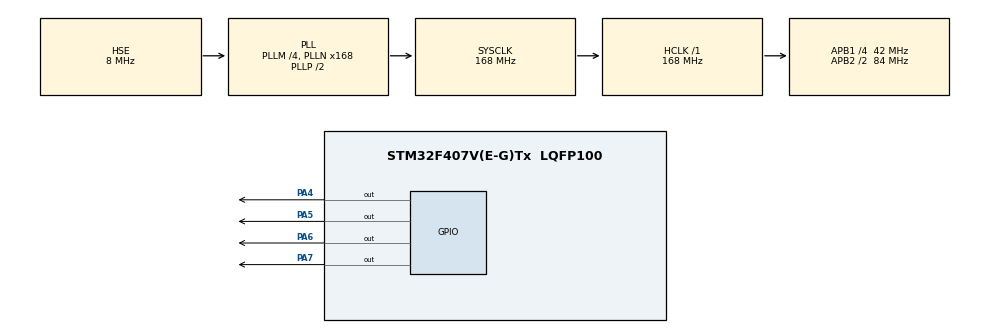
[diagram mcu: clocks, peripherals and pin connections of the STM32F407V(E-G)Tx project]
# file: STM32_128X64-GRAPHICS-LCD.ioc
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Mcu.Family=STM32F4
Mcu.Name=STM32F407V(E-G)Tx
Mcu.Package=LQFP100
NVIC.PriorityGroup=NVIC_PRIORITYGROUP_0
PA13.Mode=Serial_Wire
PA13.Signal=SYS_JTMS-SWDIO
PA14.Mode=Serial_Wire
PA14.Signal=SYS_JTCK-SWCLK
PA4.Signal=GPIO_Output
PA5.Signal=GPIO_Output
PA6.Signal=GPIO_Output
PA7.Signal=GPIO_Output
PH0-OSC_IN.Mode=HSE-External-Oscillator
PH0-OSC_IN.Signal=RCC_OSC_IN
PH1-OSC_OUT.Mode=HSE-External-Oscillator
PH1-OSC_OUT.Signal=RCC_OSC_OUT
ProjectManager.HeapSize=0x200
ProjectManager.StackSize=0x400
ProjectManager.TargetToolchain=STM32CubeIDE
RCC.48MHZClocksFreq_Value=48000000
RCC.AHBFreq_Value=168000000
RCC.APB1CLKDivider=RCC_HCLK_DIV4
RCC.APB1Freq_Value=42000000
RCC.APB1TimFreq_Value=84000000
RCC.APB2CLKDivider=RCC_HCLK_DIV2
RCC.APB2Freq_Value=84000000
RCC.APB2TimFreq_Value=168000000
RCC.CortexFreq_Value=168000000
RCC.HCLKFreq_Value=168000000
RCC.HSE_VALUE=8000000
RCC.HSI_VALUE=16000000
RCC.LSE_VALUE=32768
RCC.PLLM=4
RCC.PLLN=168
RCC.PLLQ=7
RCC.PLLSourceVirtual=RCC_PLLSOURCE_HSE
RCC.SYSCLKFreq_VALUE=168000000
RCC.SYSCLKSource=RCC_SYSCLKSOURCE_PLLCLK
RCC.VCOOutputFreq_Value=336000000
TIM2.Period=0xffff-1
TIM2.Prescaler=168-1
VP_TIM2_VS_ClockSourceINT.Mode=Internal
board=STM32F407G-DISC1

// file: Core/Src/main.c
/* USER CODE BEGIN Header */
/**
  ******************************************************************************
  * @file           : main.c
  * @brief          : Main program body
  ******************************************************************************
  * @attention
  *
  * Copyright (c) 2024 STMicroelectronics.
  * All rights reserved.
  *
  * This software is licensed under terms that can be found in the LICENSE file
  * in the root directory of this software component.
  * If no LICENSE file comes with this software, it is provided AS-IS.
  *
  ******************************************************************************
  */
/* USER CODE END Header */
#include "main.h"

/* USER CODE BEGIN Includes */

#include "ST7920_SERIAL.h"      //NOTE : You may need to change the pins.  Look the c file.
#include "delay.h"				//NOTE : You may need to change the timer. Look the c file.

/* USER CODE END Includes */

TIM_HandleTypeDef htim2;

void SystemClock_Config(void);
static void MX_GPIO_Init(void);
static void MX_TIM2_Init(void);

int main(void)
{

  /* MCU Configuration--------------------------------------------------------*/

  /* Reset of all peripherals, Initializes the Flash interface and the Systick. */
  HAL_Init();

  /* Configure the system clock */
  SystemClock_Config();

  /* Initialize all configured peripherals */
  MX_GPIO_Init();
  MX_TIM2_Init();
  /* USER CODE BEGIN 2 */

  HAL_Delay(500);
  delay_init();
  ST7920_Init();

  ST7920_SendString(0, 0, "Semi Eren");
  ST7920_SendString(1, 0, "Semi Eren");
  ST7920_SendString(2, 0, "Semi Eren");
  ST7920_SendString(3, 0, "Semi Eren");
  HAL_Delay(3000);

  ST7920_Clear();

  /* USER CODE END 2 */

  /* Infinite loop */
  /* USER CODE BEGIN WHILE */
  uint8_t say=0;
  while (1)
  {
    /* USER CODE END WHILE */
    /* USER CODE BEGIN 3 */

	  /*
	  char buf[50];
	  sprintf(buf, "SAY : %d", say);
	  ST7920_SendString(0, 0, buf);
	  say++;
	  HAL_Delay(300);
	  */
	  	char buf[50];
	  	sprintf(buf, "21C  12.0V  5.1A");
	  	/*
		ST7920_SendString(0, 0, "21C");
		ST7920_SendString(0, 2, "12.0V");
		ST7920_SendString(0, 5, "5A");
		*/
		ST7920_SendString(0, 0, buf);
		ST7920_SendString(1, 0, "%50  *****");
		ST7920_SendString(2, 0, "%100 **********");
		ST7920_SendString(3, 0, "%30  ***");
		HAL_Delay(3000);

  }
  /* USER CODE END 3 */
}

void SystemClock_Config(void)
{
  RCC_OscInitTypeDef RCC_OscInitStruct = {0};
  RCC_ClkInitTypeDef RCC_ClkInitStruct = {0};

  /** Configure the main internal regulator output voltage
  */
  __HAL_RCC_PWR_CLK_ENABLE();
  __HAL_PWR_VOLTAGESCALING_CONFIG(PWR_REGULATOR_VOLTAGE_SCALE1);

  /** Initializes the RCC Oscillators according to the specified parameters
  * in the RCC_OscInitTypeDef structure.
  */
  RCC_OscInitStruct.OscillatorType = RCC_OSCILLATORTYPE_HSE;
  RCC_OscInitStruct.HSEState = RCC_HSE_ON;
  RCC_OscInitStruct.PLL.PLLState = RCC_PLL_ON;
  RCC_OscInitStruct.PLL.PLLSource = RCC_PLLSOURCE_HSE;
  RCC_OscInitStruct.PLL.PLLM = 4;
  RCC_OscInitStruct.PLL.PLLN = 168;
  RCC_OscInitStruct.PLL.PLLP = RCC_PLLP_DIV2;
  RCC_OscInitStruct.PLL.PLLQ = 7;
  if (HAL_RCC_OscConfig(&RCC_OscInitStruct) != HAL_OK)
  {
    Error_Handler();
  }

  /** Initializes the CPU, AHB and APB buses clocks
  */
  RCC_ClkInitStruct.ClockType = RCC_CLOCKTYPE_HCLK|RCC_CLOCKTYPE_SYSCLK
                              |RCC_CLOCKTYPE_PCLK1|RCC_CLOCKTYPE_PCLK2;
  RCC_ClkInitStruct.SYSCLKSource = RCC_SYSCLKSOURCE_PLLCLK;
  RCC_ClkInitStruct.AHBCLKDivider = RCC_SYSCLK_DIV1;
  RCC_ClkInitStruct.APB1CLKDivider = RCC_HCLK_DIV4;
  RCC_ClkInitStruct.APB2CLKDivider = RCC_HCLK_DIV2;

  if (HAL_RCC_ClockConfig(&RCC_ClkInitStruct, FLASH_LATENCY_5) != HAL_OK)
  {
    Error_Handler();
  }
}

static void MX_TIM2_Init(void)
{

  TIM_ClockConfigTypeDef sClockSourceConfig = {0};
  TIM_MasterConfigTypeDef sMasterConfig = {0};

  htim2.Instance = TIM2;
  htim2.Init.Prescaler = 168-1;
  htim2.Init.CounterMode = TIM_COUNTERMODE_UP;
  htim2.Init.Period = 0xffff-1;
  htim2.Init.ClockDivision = TIM_CLOCKDIVISION_DIV1;
  htim2.Init.AutoReloadPreload = TIM_AUTORELOAD_PRELOAD_DISABLE;
  if (HAL_TIM_Base_Init(&htim2) != HAL_OK)
  {
    Error_Handler();
  }
  sClockSourceConfig.ClockSource = TIM_CLOCKSOURCE_INTERNAL;
  if (HAL_TIM_ConfigClockSource(&htim2, &sClockSourceConfig) != HAL_OK)
  {
    Error_Handler();
  }
  sMasterConfig.MasterOutputTrigger = TIM_TRGO_RESET;
  sMasterConfig.MasterSlaveMode = TIM_MASTERSLAVEMODE_DISABLE;
  if (HAL_TIMEx_MasterConfigSynchronization(&htim2, &sMasterConfig) != HAL_OK)
  {
    Error_Handler();
  }

}

static void MX_GPIO_Init(void)
{
  GPIO_InitTypeDef GPIO_InitStruct = {0};

  /* GPIO Ports Clock Enable */
  __HAL_RCC_GPIOH_CLK_ENABLE();
  __HAL_RCC_GPIOA_CLK_ENABLE();

  /*Configure GPIO pin Output Level */
  HAL_GPIO_WritePin(GPIOA, GPIO_PIN_4|GPIO_PIN_5|GPIO_PIN_6|GPIO_PIN_7, GPIO_PIN_RESET);

  /*Configure GPIO pins : PA4 PA5 PA6 PA7 */
  GPIO_InitStruct.Pin = GPIO_PIN_4|GPIO_PIN_5|GPIO_PIN_6|GPIO_PIN_7;
  GPIO_InitStruct.Mode = GPIO_MODE_OUTPUT_PP;
  GPIO_InitStruct.Pull = GPIO_NOPULL;
  GPIO_InitStruct.Speed = GPIO_SPEED_FREQ_LOW;
  HAL_GPIO_Init(GPIOA, &GPIO_InitStruct);

}

void Error_Handler(void)
{
  __disable_irq();
  while (1)
  {
  }
}
